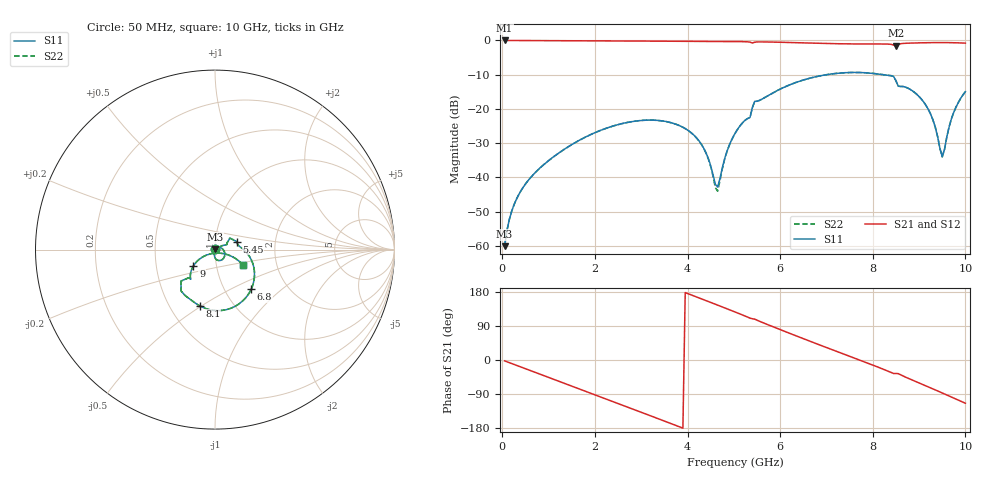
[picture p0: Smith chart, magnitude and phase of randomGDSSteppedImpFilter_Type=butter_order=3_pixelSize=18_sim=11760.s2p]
! freq	dB(S11)	phase(S11)	dB(S12)	phase(S12)
!  dB(S21)	phase(S21)	dB(S22)	phase(S22)
!S-par simulation data
#  GHz  S  DB  R 50
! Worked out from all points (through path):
!   200 points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, 50 MHz to 10 GHz, reference 50 ohm
!   highest |S21| = -0.01 dB at 50 MHz (marker M1); lowest = -1.6 dB at 8.5 GHz (marker M2)
!   group delay of S21, straight-line fit = 131 ps
!   lowest |S11| = -60.1 dB at 50 MHz (marker M3), VSWR 1.00, Z = 50.1 + j0.0856 ohm
!   |S11| at or under -10 dB: start of sweep to 7.002 GHz; 8.22 GHz to end of sweep
!   |S22| runs from -60.1 to -9.3 dB; largest |S21 - S12| = 0
!   S11 on the Smith chart (normalised r, x): 50 MHz: 1.00, +0.00; 5.45 GHz: 1.27, +0.12; 6.8 GHz: 1.33, -0.64; 8.1 GHz: 0.70, -0.49; 9 GHz: 0.77, -0.15; 10 GHz: 1.35, -0.24
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0.05  -60.07 59.6  -0.01 -2.3  -0.01 -2.3  -60.07 59.6
0.2  -50.00 72.6  -0.02 -9.2  -0.02 -9.2  -50.00 72.5
0.5  -41.92 65.6  -0.03 -23.0  -0.03 -23.0  -41.92 65.4
1.75  -28.53 12.4  -0.10 -80.3  -0.10 -80.3  -28.54 12.0
2.55  -24.40 -24.3  -0.15 -117.2  -0.15 -117.2  -24.40 -24.8
3.4  -23.40 -62.5  -0.21 -156.5  -0.21 -156.5  -23.41 -63.1
4.2  -28.54 -93.9  -0.26 166.2  -0.26 166.2  -28.57 -95.3
4.65  -42.80 -24.9  -0.29 144.8  -0.29 144.8  -44.04 -23.4
4.85  -32.43 28.4  -0.30 135.3  -0.30 135.3  -32.53 30.7
5.05  -26.59 27.9  -0.33 125.6  -0.33 125.6  -26.61 29.1
5.45  -17.79 20.4  -0.52 107.9  -0.52 107.9  -17.80 21.0
6  -14.21 -11.1  -0.53 80.3  -0.53 80.3  -14.21 -10.8
6.7  -10.82 -42.8  -0.78 46.9  -0.78 46.9  -10.82 -42.7
6.8  -10.51 -47.3  -0.82 42.2  -0.82 42.2  -10.51 -47.2
8.1  -9.78 -105.4  -1.03 -18.2  -1.03 -18.2  -9.78 -105.3
8.35  -10.23 -118.7  -1.08 -30.6  -1.08 -30.6  -10.22 -118.6
8.5  -11.77 -137.3  -1.57 -35.6  -1.57 -35.6  -11.75 -137.2
9  -16.39 -142.8  -0.71 -60.5  -0.71 -60.5  -16.39 -142.8
9.3  -23.23 -148.7  -0.64 -76.3  -0.64 -76.3  -23.24 -148.7
9.5  -33.97 -87.7  -0.62 -87.0  -0.62 -87.0  -34.01 -87.7
9.7  -22.82 -22.4  -0.65 -97.8  -0.65 -97.8  -22.82 -22.3
10  -14.95 -28.8  -0.79 -114.1  -0.79 -114.1  -14.95 -28.7
